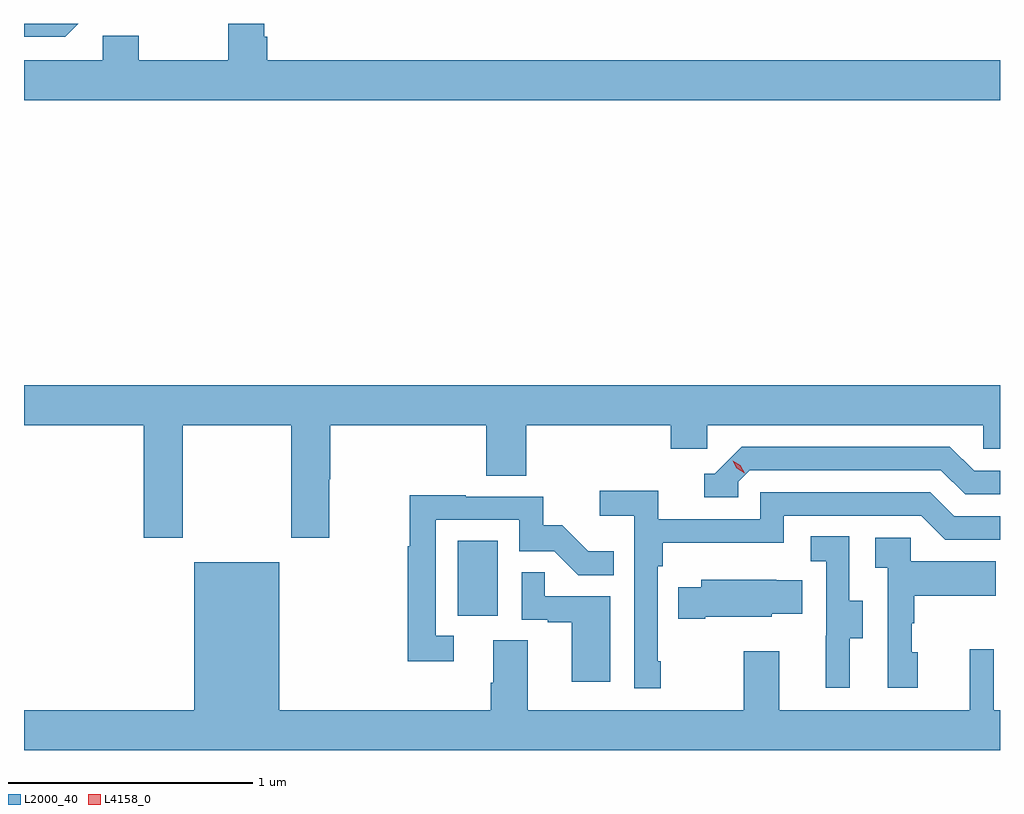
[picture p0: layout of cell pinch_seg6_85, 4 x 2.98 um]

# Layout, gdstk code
import gdstk
lib = gdstk.Library(unit=1e-6, precision=1e-09)
def R(c, l, rs):  # rectangles x0, y0, x1, y1
    for r in rs: c.add(gdstk.rectangle(r[:2], r[2:], *l))
def P(c, l, *ps):  # polygons
    for p in ps: c.add(gdstk.Polygon(p, *l))
L2000_40 = (2000, 40)
L4158_0 = (4158, 0)

pinch_seg6_85 = lib.new_cell('pinch_seg6_85')
R(pinch_seg6_85, L2000_40, [(935.66,931.902,935.824,932.209)])
P(pinch_seg6_85, L2000_40, [(934.106,934.328),(933.883,934.328),(933.883,934.275),(934.053,934.275)],
  [(937.883,934.18),(934.88,934.18),(934.88,934.276),(934.867,934.276),(934.867,934.328),(934.72,934.328),(934.72,934.18),(934.353,934.18),(934.353,934.279),(934.206,934.279),(934.206,934.18),(933.883,934.18),(933.883,934.016),(937.883,934.016)],
  [(934.533,932.684),(934.978,932.684),(934.978,932.223),(935.133,932.223),(935.133,932.462),(935.138,932.462),(935.138,932.684),(935.777,932.684),(935.777,932.476),(935.942,932.476),(935.942,932.684),(936.533,932.684),(936.533,932.586),(936.684,932.586),(936.684,932.684),(937.815,932.684),(937.815,932.586),(937.883,932.586),(937.883,932.848),(933.883,932.848),(933.883,932.684),(934.373,932.684),(934.373,932.223),(934.533,932.223)],
  [(936.81,932.451),(936.858,932.499),(937.641,932.499),(937.74,932.4),(937.883,932.4),(937.883,932.496),(937.777,932.496),(937.678,932.595),(936.825,932.595),(936.714,932.484),(936.671,932.484),(936.671,932.388),(936.81,932.388)],
  [(936.493,931.717),(936.48,931.717),(936.48,932.105),(936.5,932.105),(936.5,932.201),(936.996,932.201),(936.996,932.313),(937.56,932.313),(937.659,932.214),(937.883,932.214),(937.883,932.31),(937.696,932.31),(937.597,932.409),(936.9,932.409),(936.9,932.298),(936.482,932.298),(936.482,932.414),(936.243,932.414),(936.243,932.312),(936.384,932.312),(936.384,931.605),(936.493,931.605)],
  [(935.644,931.821),(935.571,931.821),(935.571,932.295),(935.913,932.295),(935.913,932.166),(936.057,932.166),(936.155,932.068),(936.299,932.068),(936.299,932.167),(936.195,932.167),(936.088,932.274),(936.012,932.274),(936.012,932.391),(935.693,932.391),(935.693,932.396),(935.463,932.396),(935.463,932.188),(935.455,932.188),(935.455,931.716),(935.644,931.716)],
  [(937.267,931.81),(937.321,931.81),(937.321,931.965),(937.266,931.965),(937.266,932.228),(937.107,932.228),(937.107,932.125),(937.17,932.125),(937.17,931.821),(937.169,931.821),(937.169,931.608),(937.267,931.608)],
  [(937.546,931.752),(937.521,931.752),(937.521,931.871),(937.531,931.871),(937.531,931.985),(937.865,931.985),(937.865,932.125),(937.518,932.125),(937.518,932.223),(937.371,932.223),(937.371,932.099),(937.422,932.099),(937.422,931.608),(937.546,931.608)],
  [(937.883,931.516),(937.857,931.516),(937.857,931.765),(937.76,931.765),(937.76,931.516),(936.979,931.516),(936.979,931.756),(936.832,931.756),(936.832,931.516),(935.947,931.516),(935.947,931.802),(935.807,931.802),(935.807,931.628),(935.795,931.628),(935.795,931.516),(934.93,931.516),(934.93,932.122),(934.58,932.122),(934.58,931.516),(933.883,931.516),(933.883,931.352),(937.883,931.352)],
  [(936.286,931.983),(936.017,931.983),(936.017,932.081),(935.922,932.081),(935.922,931.887),(936.029,931.887),(936.029,931.875),(936.128,931.875),(936.128,931.632),(936.286,931.632)],
  [(936.676,931.898),(936.948,931.898),(936.948,931.91),(937.073,931.91),(937.073,932.047),(936.965,932.047),(936.965,932.05),(936.659,932.05),(936.659,932.02),(936.565,932.02),(936.565,931.891),(936.676,931.891)])
P(pinch_seg6_85, L4158_0, [(936.836,932.487),(936.805,932.506),(936.788,932.538),(936.788,932.538),(936.788,932.538),(936.819,932.519),(936.836,932.487),(936.836,932.487)])

lib.write_gds('pinch_seg6_85.gds')
